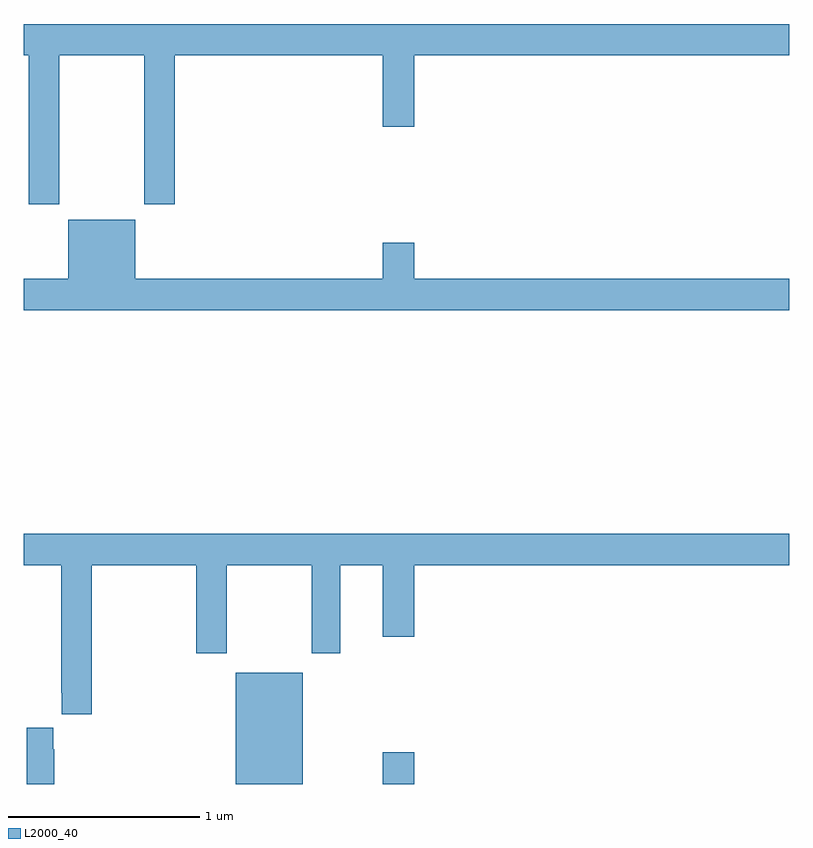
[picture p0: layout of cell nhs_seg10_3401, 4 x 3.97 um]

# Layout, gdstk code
import gdstk
lib = gdstk.Library(unit=1e-6, precision=1e-09)
def R(c, l, rs):  # rectangles x0, y0, x1, y1
    for r in rs: c.add(gdstk.rectangle(r[:2], r[2:], *l))
def P(c, l, *ps):  # polygons
    for p in ps: c.add(gdstk.Polygon(p, *l))
L2000_40 = (2000, 40)

nhs_seg10_3401 = lib.new_cell('nhs_seg10_3401')
R(nhs_seg10_3401, L2000_40, [(296.108,1304.5,296.458,1305.082), (296.876,1304.5,297.04,1304.665)])
P(nhs_seg10_3401, L2000_40, [(295.185,1308.308),(295.63,1308.308),(295.63,1307.529),(295.79,1307.529),(295.79,1308.308),(296.876,1308.308),(296.876,1307.934),(297.04,1307.934),(297.04,1308.308),(299,1308.308),(299,1308.472),(295,1308.472),(295,1308.308),(295.025,1308.308),(295.025,1307.529),(295.185,1307.529)],
  [(299,1307.14),(297.04,1307.14),(297.04,1307.329),(296.876,1307.329),(296.876,1307.14),(295.582,1307.14),(295.582,1307.449),(295.232,1307.449),(295.232,1307.14),(295,1307.14),(295,1306.976),(299,1306.976)],
  [(295.355,1305.644),(295.901,1305.644),(295.901,1305.183),(296.061,1305.183),(296.061,1305.644),(296.506,1305.644),(296.506,1305.183),(296.653,1305.183),(296.653,1305.644),(296.876,1305.644),(296.876,1305.27),(297.04,1305.27),(297.04,1305.644),(299,1305.644),(299,1305.808),(295,1305.808),(295,1305.644),(295.195,1305.644),(295.195,1304.977),(295.199,1304.977),(295.199,1304.865),(295.355,1304.865)],
  [(295.16,1304.681),(295.153,1304.681),(295.153,1304.794),(295.016,1304.794),(295.016,1304.5),(295.16,1304.5)])

lib.write_gds('nhs_seg10_3401.gds')
